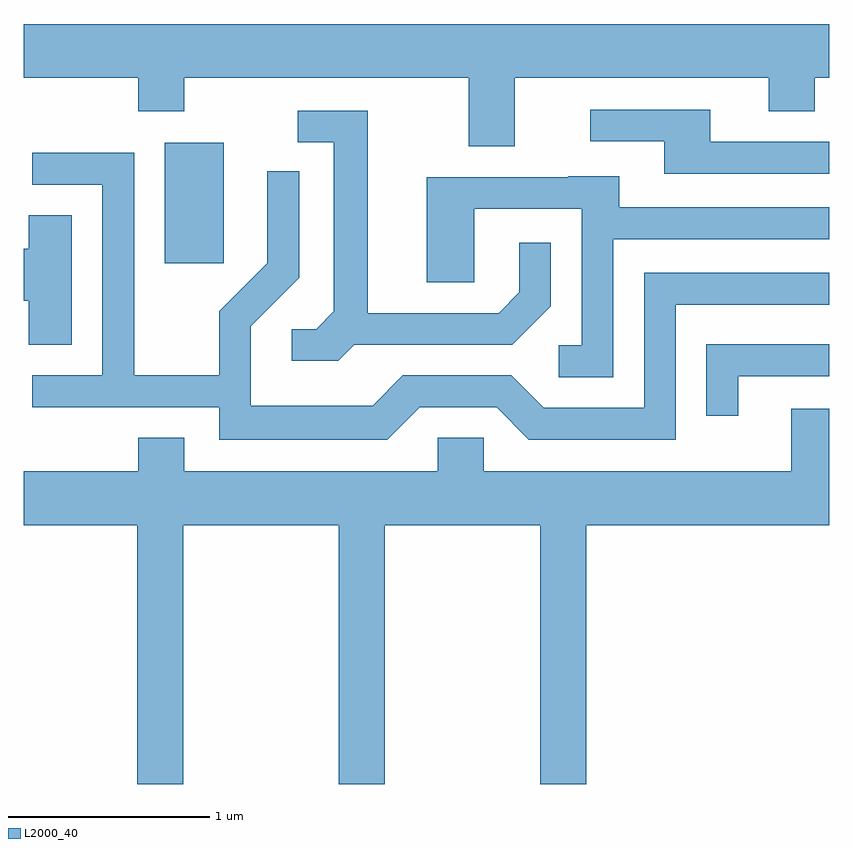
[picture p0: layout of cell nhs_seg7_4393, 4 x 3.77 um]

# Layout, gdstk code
import gdstk
lib = gdstk.Library(unit=1e-6, precision=1e-09)
def R(c, l, rs):  # rectangles x0, y0, x1, y1
    for r in rs: c.add(gdstk.rectangle(r[:2], r[2:], *l))
def P(c, l, *ps):  # polygons
    for p in ps: c.add(gdstk.Polygon(p, *l))
L2000_40 = (2000, 40)

nhs_seg7_4393 = lib.new_cell('nhs_seg7_4393')
R(nhs_seg7_4393, L2000_40, [(320.311,1768.896,320.604,1769.494)])
P(nhs_seg7_4393, L2000_40, [(322.049,1769.816),(323.311,1769.816),(323.311,1769.651),(323.539,1769.651),(323.539,1769.816),(323.611,1769.816),(323.611,1770.084),(319.611,1770.084),(319.611,1769.816),(320.181,1769.816),(320.181,1769.651),(320.409,1769.651),(320.409,1769.816),(321.821,1769.816),(321.821,1769.476),(322.049,1769.476)],
  [(323.611,1769.499),(323.019,1769.499),(323.019,1769.659),(322.423,1769.659),(322.423,1769.501),(322.791,1769.501),(322.791,1769.341),(323.611,1769.341)],
  [(321.252,1768.491),(322.037,1768.491),(322.229,1768.684),(322.229,1768.998),(322.071,1768.998),(322.071,1768.752),(321.969,1768.649),(321.319,1768.649),(321.319,1769.654),(320.973,1769.654),(320.973,1769.496),(321.151,1769.496),(321.151,1768.657),(321.064,1768.569),(320.943,1768.569),(320.943,1768.411),(321.172,1768.411)],
  [(321.577,1768.181),(321.959,1768.181),(322.119,1768.021),(322.849,1768.021),(322.849,1768.691),(323.611,1768.691),(323.611,1768.849),(322.691,1768.849),(322.691,1768.179),(322.192,1768.179),(322.032,1768.339),(321.494,1768.339),(321.344,1768.189),(320.739,1768.189),(320.739,1768.584),(320.979,1768.824),(320.979,1769.353),(320.821,1769.353),(320.821,1768.897),(320.581,1768.657),(320.581,1768.339),(320.159,1768.339),(320.159,1769.444),(319.653,1769.444),(319.653,1769.286),(320.001,1769.286),(320.001,1768.339),(319.653,1768.339),(319.653,1768.181),(320.581,1768.181),(320.581,1768.021),(321.417,1768.021)],
  [(322.539,1769.016),(323.611,1769.016),(323.611,1769.174),(322.569,1769.174),(322.569,1769.329),(322.315,1769.329),(322.315,1769.324),(321.611,1769.324),(321.611,1768.801),(321.849,1768.801),(321.849,1769.166),(322.381,1769.166),(322.381,1768.489),(322.268,1768.489),(322.268,1768.331),(322.539,1768.331)],
  [(319.849,1769.134),(319.636,1769.134),(319.636,1768.969),(319.611,1768.969),(319.611,1768.711),(319.636,1768.711),(319.636,1768.491),(319.849,1768.491)],
  [(323.159,1768.336),(323.611,1768.336),(323.611,1768.494),(323.001,1768.494),(323.001,1768.138),(323.159,1768.138)],
  [(320.404,1767.596),(321.176,1767.596),(321.176,1766.311),(321.404,1766.311),(321.404,1767.596),(322.176,1767.596),(322.176,1766.311),(322.404,1766.311),(322.404,1767.596),(323.611,1767.596),(323.611,1768.174),(323.421,1768.174),(323.421,1767.864),(321.894,1767.864),(321.894,1768.029),(321.666,1768.029),(321.666,1767.864),(320.409,1767.864),(320.409,1768.029),(320.181,1768.029),(320.181,1767.864),(319.611,1767.864),(319.611,1767.596),(320.176,1767.596),(320.176,1766.311),(320.404,1766.311)])

lib.write_gds('nhs_seg7_4393.gds')
